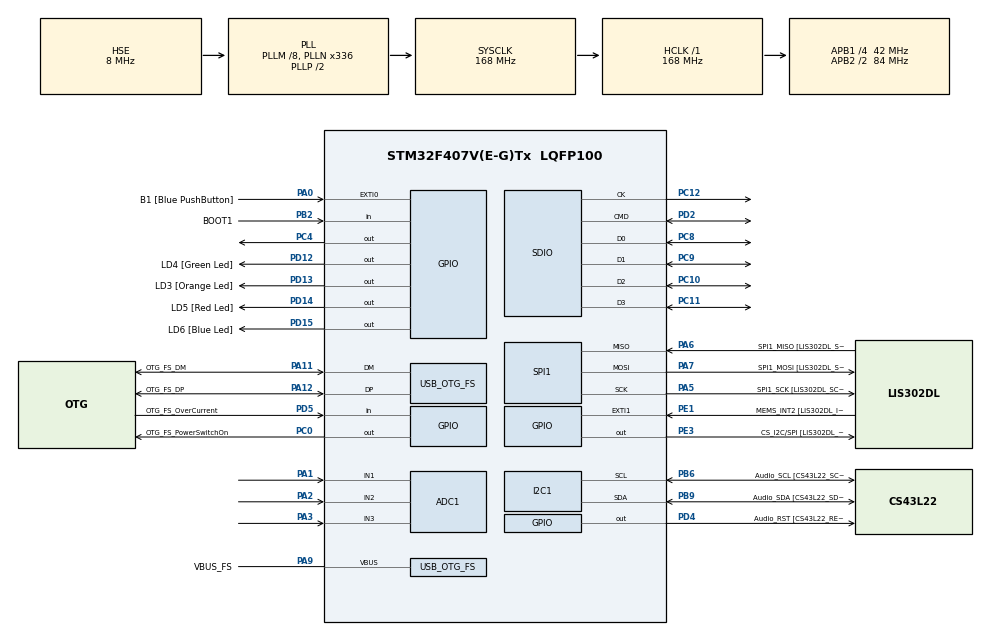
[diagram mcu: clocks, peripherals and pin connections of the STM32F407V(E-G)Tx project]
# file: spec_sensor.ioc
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ADC1.Channel=ADC_CHANNEL_2
ADC1.Channel-0\#ChannelRegularConversion=ADC_CHANNEL_1
ADC1.Channel-6\#ChannelRegularConversion=ADC_CHANNEL_2
ADC1.Channel-7\#ChannelRegularConversion=ADC_CHANNEL_3
ADC1.ClockPrescaler=ADC_CLOCKPRESCALER_PCLK_DIV8
ADC1.ContinuousConvMode=ENABLE
ADC1.DMAContinuousRequests=ENABLE
ADC1.NbrOfConversion=3
ADC1.Rank-6\#ChannelRegularConversion=2
ADC1.Rank-7\#ChannelRegularConversion=3
ADC1.SamplingTime-0\#ChannelRegularConversion=ADC_SAMPLETIME_56CYCLES
ADC1.SamplingTime-6\#ChannelRegularConversion=ADC_SAMPLETIME_56CYCLES
ADC1.SamplingTime-7\#ChannelRegularConversion=ADC_SAMPLETIME_56CYCLES
ADC1.ScanConvMode=ENABLE
ADC1.master=1
Dma.ADC1.0.Channel=DMA_CHANNEL_0
Dma.ADC1.0.Direction=DMA_PERIPH_TO_MEMORY
Dma.ADC1.0.FIFOMode=DMA_FIFOMODE_DISABLE
Dma.ADC1.0.Instance=DMA2_Stream0
Dma.ADC1.0.MemDataAlignment=DMA_MDATAALIGN_HALFWORD
Dma.ADC1.0.MemInc=DMA_MINC_ENABLE
Dma.ADC1.0.Mode=DMA_CIRCULAR
Dma.ADC1.0.PeriphDataAlignment=DMA_PDATAALIGN_HALFWORD
Dma.ADC1.0.PeriphInc=DMA_PINC_DISABLE
Dma.ADC1.0.Priority=DMA_PRIORITY_HIGH
Dma.Request0=ADC1
FREERTOS.Tasks01=defaultTask,0,128,StartDefaultTask
Mcu.Family=STM32F4
Mcu.Name=STM32F407V(E-G)Tx
Mcu.Package=LQFP100
NVIC.DMA2_Stream0_IRQn=true\:5\:0\:true
NVIC.EXTI0_IRQn=true\:5\:0\:true
NVIC.OTG_FS_IRQn=true\:5\:0\:true
NVIC.PriorityGroup=NVIC_PRIORITYGROUP_4
PA0-WKUP.GPIO_Label=B1 [Blue PushButton]
PA0-WKUP.GPIO_ModeDefaultEXTI=GPIO_MODE_IT_RISING
PA0-WKUP.GPIO_PuPd=GPIO_NOPULL
PA0-WKUP.Signal=GPXTI0
PA1.Signal=ADCx_IN1
PA10.GPIO_Label=OTG_FS_ID
PA10.GPIO_Mode=GPIO_MODE_AF_PP
PA10.GPIO_PuPd=GPIO_NOPULL
PA10.GPIO_Speed=GPIO_SPEED_LOW
PA10.Signal=USB_OTG_FS_ID
PA11.GPIO_Label=OTG_FS_DM
PA11.GPIO_Mode=GPIO_MODE_AF_PP
PA11.GPIO_PuPd=GPIO_NOPULL
PA11.GPIO_Speed=GPIO_SPEED_LOW
PA11.Mode=Device_Only
PA11.Signal=USB_OTG_FS_DM
PA12.GPIO_Label=OTG_FS_DP
PA12.GPIO_Mode=GPIO_MODE_AF_PP
PA12.GPIO_PuPd=GPIO_NOPULL
PA12.GPIO_Speed=GPIO_SPEED_LOW
PA12.Mode=Device_Only
PA12.Signal=USB_OTG_FS_DP
PA13.GPIO_Label=SWDIO
PA13.Mode=Trace-Asynchronous_SW
PA13.Signal=SYS_JTMS-SWDIO
PA14.GPIO_Label=SWCLK
PA14.Mode=Trace-Asynchronous_SW
PA14.Signal=SYS_JTCK-SWCLK
PA2.Signal=ADCx_IN2
PA3.Signal=ADCx_IN3
PA4.GPIO_Label=I2S3_WS [CS43L22_LRCK]
PA4.GPIO_Mode=GPIO_MODE_AF_PP
PA4.GPIO_PuPd=GPIO_NOPULL
PA4.GPIO_Speed=GPIO_SPEED_LOW
PA4.Signal=I2S3_WS
PA5.GPIO_Label=SPI1_SCK [LIS302DL_SCL/SPC]
PA5.GPIO_Mode=GPIO_MODE_AF_PP
PA5.GPIO_PuPd=GPIO_NOPULL
PA5.GPIO_Speed=GPIO_SPEED_LOW
PA5.Mode=Full_Duplex_Master
PA5.Signal=SPI1_SCK
PA6.GPIO_Label=SPI1_MISO [LIS302DL_SDO]
PA6.GPIO_Mode=GPIO_MODE_AF_PP
PA6.GPIO_PuPd=GPIO_NOPULL
PA6.GPIO_Speed=GPIO_SPEED_LOW
PA6.Mode=Full_Duplex_Master
PA6.Signal=SPI1_MISO
PA7.GPIO_Label=SPI1_MOSI [LIS302DL_SDA/SDI/SDO]
PA7.GPIO_Mode=GPIO_MODE_AF_PP
PA7.GPIO_PuPd=GPIO_NOPULL
PA7.GPIO_Speed=GPIO_SPEED_LOW
PA7.Mode=Full_Duplex_Master
PA7.Signal=SPI1_MOSI
PA9.GPIO_Label=VBUS_FS
PA9.GPIO_Mode=GPIO_MODE_INPUT
PA9.GPIO_PuPd=GPIO_NOPULL
PA9.Mode=Activate_VBUS
PA9.Signal=USB_OTG_FS_VBUS
PB10.GPIO_Label=CLK_IN [MP45DT02_CLK]
PB10.GPIO_Mode=GPIO_MODE_AF_PP
PB10.GPIO_PuPd=GPIO_NOPULL
PB10.GPIO_Speed=GPIO_SPEED_LOW
PB10.Signal=I2S2_CK
PB2.GPIO_Label=BOOT1
PB2.GPIO_Mode=GPIO_MODE_INPUT
PB2.GPIO_PuPd=GPIO_NOPULL
PB2.Signal=GPIO_Input
PB3.GPIO_Label=SWO
PB3.Mode=Trace-Asynchronous_SW
PB3.Signal=SYS_JTDO-SWO
PB6.GPIO_Label=Audio_SCL [CS43L22_SCL]
PB6.GPIO_Mode=GPIO_MODE_AF_OD
PB6.GPIO_PuPd=GPIO_NOPULL
PB6.GPIO_Speed=GPIO_SPEED_LOW
PB6.Mode=I2C
PB6.Signal=I2C1_SCL
PB9.GPIO_Label=Audio_SDA [CS43L22_SDA]
PB9.GPIO_Mode=GPIO_MODE_AF_OD
PB9.GPIO_PuPd=GPIO_NOPULL
PB9.GPIO_Speed=GPIO_SPEED_LOW
PB9.Mode=I2C
PB9.Signal=I2C1_SDA
PC0.GPIO_Label=OTG_FS_PowerSwitchOn
PC0.GPIO_ModeDefaultOutputPP=GPIO_MODE_OUTPUT_PP
PC0.GPIO_PuPd=GPIO_NOPULL
PC0.GPIO_Speed=GPIO_SPEED_LOW
PC0.Signal=GPIO_Output
PC10.Mode=SD_4_bits_Wide_bus
PC10.Signal=SDIO_D2
PC11.Mode=SD_4_bits_Wide_bus
PC11.Signal=SDIO_D3
PC12.Mode=SD_4_bits_Wide_bus
PC12.Signal=SDIO_CK
PC14-OSC32_IN.GPIO_Label=PC14-OSC32_IN
PC14-OSC32_IN.Mode=LSE-External-Oscillator
PC14-OSC32_IN.Signal=RCC_OSC32_IN
PC15-OSC32_OUT.GPIO_Label=PC15-OSC32_OUT
PC15-OSC32_OUT.Mode=LSE-External-Oscillator
PC15-OSC32_OUT.Signal=RCC_OSC32_OUT
PC3.GPIO_Label=PDM_OUT [MP45DT02_DOUT]
PC3.GPIO_Mode=GPIO_MODE_AF_PP
PC3.GPIO_PuPd=GPIO_NOPULL
PC3.GPIO_Speed=GPIO_SPEED_LOW
PC3.Signal=I2S2_SD
PC4.Signal=GPIO_Output
PC7.GPIO_Label=I2S3_MCK [CS43L22_MCLK]
PC7.GPIO_Mode=GPIO_MODE_AF_PP
PC7.GPIO_PuPd=GPIO_NOPULL
PC7.GPIO_Speed=GPIO_SPEED_LOW
PC7.Signal=I2S3_MCK
PC8.Mode=SD_4_bits_Wide_bus
PC8.Signal=SDIO_D0
PC9.Mode=SD_4_bits_Wide_bus
PC9.Signal=SDIO_D1
PD12.GPIO_Label=LD4 [Green Led]
PD12.GPIO_ModeDefaultOutputPP=GPIO_MODE_OUTPUT_PP
PD12.GPIO_PuPd=GPIO_NOPULL
PD12.GPIO_Speed=GPIO_SPEED_LOW
PD12.Signal=GPIO_Output
PD13.GPIO_Label=LD3 [Orange Led]
PD13.GPIO_ModeDefaultOutputPP=GPIO_MODE_OUTPUT_PP
PD13.GPIO_PuPd=GPIO_NOPULL
PD13.GPIO_Speed=GPIO_SPEED_LOW
PD13.Signal=GPIO_Output
PD14.GPIO_Label=LD5 [Red Led]
PD14.GPIO_ModeDefaultOutputPP=GPIO_MODE_OUTPUT_PP
PD14.GPIO_PuPd=GPIO_NOPULL
PD14.GPIO_Speed=GPIO_SPEED_LOW
PD14.Signal=GPIO_Output
PD15.GPIO_Label=LD6 [Blue Led]
PD15.GPIO_ModeDefaultOutputPP=GPIO_MODE_OUTPUT_PP
PD15.GPIO_PuPd=GPIO_NOPULL
PD15.GPIO_Speed=GPIO_SPEED_LOW
PD15.Signal=GPIO_Output
PD2.Mode=SD_4_bits_Wide_bus
PD2.Signal=SDIO_CMD
PD4.GPIO_Label=Audio_RST [CS43L22_RESET]
PD4.GPIO_ModeDefaultOutputPP=GPIO_MODE_OUTPUT_PP
PD4.GPIO_PuPd=GPIO_NOPULL
PD4.GPIO_Speed=GPIO_SPEED_LOW
PD4.Signal=GPIO_Output
PD5.GPIO_Label=OTG_FS_OverCurrent
PD5.GPIO_Mode=GPIO_MODE_INPUT
PD5.GPIO_PuPd=GPIO_NOPULL
PD5.Signal=GPIO_Input
PE1.GPIO_Label=MEMS_INT2 [LIS302DL_INT2]
PE1.GPIO_ModeDefaultEXTI=GPIO_MODE_EVT_RISING
PE1.GPIO_PuPd=GPIO_NOPULL
PE1.Signal=GPXTI1
PE3.GPIO_Label=CS_I2C/SPI [LIS302DL_CS_I2C/SPI]
PE3.GPIO_ModeDefaultOutputPP=GPIO_MODE_OUTPUT_PP
PE3.GPIO_PuPd=GPIO_NOPULL
PE3.GPIO_Speed=GPIO_SPEED_LOW
PE3.Signal=GPIO_Output
PH0-OSC_IN.GPIO_Label=PH0-OSC_IN
PH0-OSC_IN.Mode=HSE-External-Oscillator
PH0-OSC_IN.Signal=RCC_OSC_IN
PH1-OSC_OUT.GPIO_Label=PH1-OSC_OUT
PH1-OSC_OUT.Mode=HSE-External-Oscillator
PH1-OSC_OUT.Signal=RCC_OSC_OUT
ProjectManager.TargetToolchain=EWARM 6.70
RCC.48MHZClocksFreq_Value=48000000
RCC.AHBFreq_Value=168000000
RCC.APB1CLKDivider=RCC_HCLK_DIV4
RCC.APB1Freq_Value=42000000
RCC.APB1TimFreq_Value=84000000
RCC.APB2CLKDivider=RCC_HCLK_DIV2
RCC.APB2Freq_Value=84000000
RCC.APB2TimFreq_Value=168000000
RCC.CortexFreq_Value=21000000
RCC.HCLKFreq_Value=168000000
RCC.HSE_VALUE=8000000
RCC.HSI_VALUE=16000000
RCC.LSE_VALUE=32768
RCC.PLLM=8
RCC.PLLN=336
RCC.PLLQ=7
RCC.PLLSourceVirtual=RCC_PLLSOURCE_HSE
RCC.SYSCLKFreq_VALUE=168000000
RCC.SYSCLKSource=RCC_SYSCLKSOURCE_PLLCLK
RCC.VCOOutputFreq_Value=336000000
SDIO.BusWide-SD_4_bits_Wide_bus=SDIO_BUS_WIDE_1B
SDIO.WideMode=SDIO_BUS_WIDE_4B
SH.ADCx_IN1.0=ADC1_IN1,IN1
SH.ADCx_IN2.0=ADC1_IN2,IN2
SH.ADCx_IN3.0=ADC1_IN3,IN3
SPI1.BaudRatePrescaler-Full_Duplex_Master=SPI_BAUDRATEPRESCALER_2
SPI1.CalculateBaudRate-Full_Duplex_Master=42.0 MBits/s
SPI1.Mode-Full_Duplex_Master=SPI_MODE_MASTER
USB_DEVICE.CLASS_NAME-CDC_FS=CDC
USB_DEVICE.USBD_HandleTypeDef-CDC_FS=hUsbDeviceFS
USB_DEVICE.VirtualMode-CDC_FS=Cdc
USB_DEVICE.VirtualModeFS-CDC_FS=Cdc_FS
USB_OTG_FS.VirtualMode-Device_Only=Device_Only
USB_OTG_FS.use_external_vbus=ENABLE
VP_FREERTOS_VS_ENABLE.Mode=Enabled
VP_USB_DEVICE_VS_USB_DEVICE_CDC_FS.Mode=CDC_FS

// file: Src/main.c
/**
  ******************************************************************************
  * File Name          : main.c
  * Date               : 27/03/2015 00:34:07
  * Description        : Main program body
  ******************************************************************************
  *
  * COPYRIGHT(c) 2015 STMicroelectronics
  *
  * Redistribution and use in source and binary forms, with or without modification,
  * are permitted provided that the following conditions are met:
  *   1. Redistributions of source code must retain the above copyright notice,
  *      this list of conditions and the following disclaimer.
  *   2. Redistributions in binary form must reproduce the above copyright notice,
  *      this list of conditions and the following disclaimer in the documentation
  *      and/or other materials provided with the distribution.
  *   3. Neither the name of STMicroelectronics nor the names of its contributors
  *      may be used to endorse or promote products derived from this software
  *      without specific prior written permission.
  *
  * THIS SOFTWARE IS PROVIDED BY THE COPYRIGHT HOLDERS AND CONTRIBUTORS "AS IS"
  * AND ANY EXPRESS OR IMPLIED WARRANTIES, INCLUDING, BUT NOT LIMITED TO, THE
  * IMPLIED WARRANTIES OF MERCHANTABILITY AND FITNESS FOR A PARTICULAR PURPOSE ARE
  * DISCLAIMED. IN NO EVENT SHALL THE COPYRIGHT HOLDER OR CONTRIBUTORS BE LIABLE
  * FOR ANY DIRECT, INDIRECT, INCIDENTAL, SPECIAL, EXEMPLARY, OR CONSEQUENTIAL
  * DAMAGES (INCLUDING, BUT NOT LIMITED TO, PROCUREMENT OF SUBSTITUTE GOODS OR
  * SERVICES; LOSS OF USE, DATA, OR PROFITS; OR BUSINESS INTERRUPTION) HOWEVER
  * CAUSED AND ON ANY THEORY OF LIABILITY, WHETHER IN CONTRACT, STRICT LIABILITY,
  * OR TORT (INCLUDING NEGLIGENCE OR OTHERWISE) ARISING IN ANY WAY OUT OF THE USE
  * OF THIS SOFTWARE, EVEN IF ADVISED OF THE POSSIBILITY OF SUCH DAMAGE.
  *
  ******************************************************************************
  */

#include "stm32f4xx_hal.h"
#include "cmsis_os.h"
#include "usb_device.h"

ADC_HandleTypeDef hadc1;
DMA_HandleTypeDef hdma_adc1;

I2C_HandleTypeDef hi2c1;

SD_HandleTypeDef hsd;
HAL_SD_CardInfoTypedef SDCardInfo;

SPI_HandleTypeDef hspi1;

osThreadId defaultTaskHandle;

void SystemClock_Config(void);
static void MX_GPIO_Init(void);
static void MX_DMA_Init(void);
static void MX_ADC1_Init(void);
static void MX_I2C1_Init(void);
static void MX_SDIO_SD_Init(void);
static void MX_SPI1_Init(void);
void StartDefaultTask(void const * argument);

/* USER CODE BEGIN 0 */
#define DATA_SIZE       0x7FFF
uint16_t ADCConvValues[3];
extern volatile uint16_t DataReceived;

uint16_t value1 = 0;
uint16_t value2 = 0;
uint16_t value3 = 0;

ADC_HandleTypeDef hadc1;
DMA_HandleTypeDef hdma_adc1;

I2C_HandleTypeDef hi2c1;

//I2S_HandleTypeDef hi2s3; выяснить зачем это нужно

SPI_HandleTypeDef hspi1;

/* USER CODE END 0 */

int main(void)
{

  /* MCU Configuration----------------------------------------------------------*/

  /* Reset of all peripherals, Initializes the Flash interface and the Systick. */
  HAL_Init();

  /* Configure the system clock */
  SystemClock_Config();

  /* Initialize all configured peripherals */
  MX_GPIO_Init();
  MX_DMA_Init();
  MX_ADC1_Init();
  MX_I2C1_Init();
  MX_SDIO_SD_Init();
  MX_SPI1_Init();

  /* Create the thread(s) */
  /* definition and creation of defaultTask */
  osThreadDef(defaultTask, StartDefaultTask, osPriorityNormal, 0, 128);
  defaultTaskHandle = osThreadCreate(osThread(defaultTask), NULL);

  /* Start scheduler */
  osKernelStart();

  /* We should never get here as control is now taken by the scheduler */

  while (1)
  {
  }

}

/** System Clock Configuration
*/
void SystemClock_Config(void)
{

  RCC_OscInitTypeDef RCC_OscInitStruct;
  RCC_ClkInitTypeDef RCC_ClkInitStruct;

  __PWR_CLK_ENABLE();

  __HAL_PWR_VOLTAGESCALING_CONFIG(PWR_REGULATOR_VOLTAGE_SCALE1);

  RCC_OscInitStruct.OscillatorType = RCC_OSCILLATORTYPE_HSE;
  RCC_OscInitStruct.HSEState = RCC_HSE_ON;
  RCC_OscInitStruct.PLL.PLLState = RCC_PLL_ON;
  RCC_OscInitStruct.PLL.PLLSource = RCC_PLLSOURCE_HSE;
  RCC_OscInitStruct.PLL.PLLM = 8;
  RCC_OscInitStruct.PLL.PLLN = 336;
  RCC_OscInitStruct.PLL.PLLP = RCC_PLLP_DIV2;
  RCC_OscInitStruct.PLL.PLLQ = 7;
  HAL_RCC_OscConfig(&RCC_OscInitStruct);

  RCC_ClkInitStruct.ClockType = RCC_CLOCKTYPE_SYSCLK|RCC_CLOCKTYPE_PCLK1
                              |RCC_CLOCKTYPE_PCLK2;
  RCC_ClkInitStruct.SYSCLKSource = RCC_SYSCLKSOURCE_PLLCLK;
  RCC_ClkInitStruct.AHBCLKDivider = RCC_SYSCLK_DIV1;
  RCC_ClkInitStruct.APB1CLKDivider = RCC_HCLK_DIV4;
  RCC_ClkInitStruct.APB2CLKDivider = RCC_HCLK_DIV2;
  HAL_RCC_ClockConfig(&RCC_ClkInitStruct, FLASH_LATENCY_5);

}

/* ADC1 init function */
void MX_ADC1_Init(void)
{

  ADC_ChannelConfTypeDef sConfig;

    /**Configure the global features of the ADC (Clock, Resolution, Data Alignment and number of conversion)
    */
  hadc1.Instance = ADC1;
  hadc1.Init.ClockPrescaler = ADC_CLOCKPRESCALER_PCLK_DIV8;
  hadc1.Init.Resolution = ADC_RESOLUTION12b;
  hadc1.Init.ScanConvMode = ENABLE;
  hadc1.Init.ContinuousConvMode = ENABLE;
  hadc1.Init.DiscontinuousConvMode = DISABLE;
  hadc1.Init.ExternalTrigConvEdge = ADC_EXTERNALTRIGCONVEDGE_NONE;
  hadc1.Init.DataAlign = ADC_DATAALIGN_RIGHT;
  hadc1.Init.NbrOfConversion = 3;
  hadc1.Init.DMAContinuousRequests = ENABLE;
  hadc1.Init.EOCSelection = EOC_SINGLE_CONV;
  HAL_ADC_Init(&hadc1);

    /**Configure for the selected ADC regular channel its corresponding rank in the sequencer and its sample time.
    */
  sConfig.Channel = ADC_CHANNEL_2;
  sConfig.Rank = 2;
  sConfig.SamplingTime = ADC_SAMPLETIME_56CYCLES;
  HAL_ADC_ConfigChannel(&hadc1, &sConfig);

    /**Configure for the selected ADC regular channel its corresponding rank in the sequencer and its sample time.
    */
  sConfig.Channel = ADC_CHANNEL_1;
  sConfig.Rank = 1;
  HAL_ADC_ConfigChannel(&hadc1, &sConfig);

    /**Configure for the selected ADC regular channel its corresponding rank in the sequencer and its sample time.
    */
  sConfig.Channel = ADC_CHANNEL_3;
  sConfig.Rank = 3;
  HAL_ADC_ConfigChannel(&hadc1, &sConfig);

}

/* I2C1 init function */
void MX_I2C1_Init(void)
{

  hi2c1.Instance = I2C1;
  hi2c1.Init.ClockSpeed = 100000;
  hi2c1.Init.DutyCycle = I2C_DUTYCYCLE_2;
  hi2c1.Init.OwnAddress1 = 0;
  hi2c1.Init.AddressingMode = I2C_ADDRESSINGMODE_7BIT;
  hi2c1.Init.DualAddressMode = I2C_DUALADDRESS_DISABLED;
  hi2c1.Init.OwnAddress2 = 0;
  hi2c1.Init.GeneralCallMode = I2C_GENERALCALL_DISABLED;
  hi2c1.Init.NoStretchMode = I2C_NOSTRETCH_DISABLED;
  HAL_I2C_Init(&hi2c1);

}

/* SDIO init function */
void MX_SDIO_SD_Init(void)
{

  hsd.Instance = SDIO;
  hsd.Init.ClockEdge = SDIO_CLOCK_EDGE_RISING;
  hsd.Init.ClockBypass = SDIO_CLOCK_BYPASS_DISABLE;
  hsd.Init.ClockPowerSave = SDIO_CLOCK_POWER_SAVE_DISABLE;
  hsd.Init.BusWide = SDIO_BUS_WIDE_1B;
  hsd.Init.HardwareFlowControl = SDIO_HARDWARE_FLOW_CONTROL_DISABLE;
  hsd.Init.ClockDiv = 0;
  HAL_SD_Init(&hsd, &SDCardInfo);

  HAL_SD_WideBusOperation_Config(&hsd, SDIO_BUS_WIDE_4B);

}

/* SPI1 init function */
void MX_SPI1_Init(void)
{

  hspi1.Instance = SPI1;
  hspi1.Init.Mode = SPI_MODE_MASTER;
  hspi1.Init.Direction = SPI_DIRECTION_2LINES;
  hspi1.Init.DataSize = SPI_DATASIZE_8BIT;
  hspi1.Init.CLKPolarity = SPI_POLARITY_LOW;
  hspi1.Init.CLKPhase = SPI_PHASE_1EDGE;
  hspi1.Init.NSS = SPI_NSS_SOFT;
  hspi1.Init.BaudRatePrescaler = SPI_BAUDRATEPRESCALER_2;
  hspi1.Init.FirstBit = SPI_FIRSTBIT_MSB;
  hspi1.Init.TIMode = SPI_TIMODE_DISABLED;
  hspi1.Init.CRCCalculation = SPI_CRCCALCULATION_DISABLED;
  HAL_SPI_Init(&hspi1);

}

void MX_DMA_Init(void)
{
  /* DMA controller clock enable */
  __DMA2_CLK_ENABLE();

  /* DMA interrupt init */
  HAL_NVIC_SetPriority(DMA2_Stream0_IRQn, 5, 0);
  HAL_NVIC_EnableIRQ(DMA2_Stream0_IRQn);

}

/** Configure pins as
        * Analog
        * Input
        * Output
        * EVENT_OUT
        * EXTI
     PC3   ------> I2S2_SD
     PA4   ------> I2S3_WS
     PB10   ------> I2S2_CK
     PC7   ------> I2S3_MCK
*/
void MX_GPIO_Init(void)
{

  GPIO_InitTypeDef GPIO_InitStruct;

  /* GPIO Ports Clock Enable */
  __GPIOE_CLK_ENABLE();
  __GPIOC_CLK_ENABLE();
  __GPIOH_CLK_ENABLE();
  __GPIOA_CLK_ENABLE();
  __GPIOB_CLK_ENABLE();
  __GPIOD_CLK_ENABLE();

  /*Configure GPIO pin : PE3 */
  GPIO_InitStruct.Pin = GPIO_PIN_3;
  GPIO_InitStruct.Mode = GPIO_MODE_OUTPUT_PP;
  GPIO_InitStruct.Pull = GPIO_NOPULL;
  GPIO_InitStruct.Speed = GPIO_SPEED_LOW;
  HAL_GPIO_Init(GPIOE, &GPIO_InitStruct);

  /*Configure GPIO pins : PC0 PC4 */
  GPIO_InitStruct.Pin = GPIO_PIN_0|GPIO_PIN_4;
  GPIO_InitStruct.Mode = GPIO_MODE_OUTPUT_PP;
  GPIO_InitStruct.Pull = GPIO_NOPULL;
  GPIO_InitStruct.Speed = GPIO_SPEED_LOW;
  HAL_GPIO_Init(GPIOC, &GPIO_InitStruct);

  /*Configure GPIO pin : PC3 */
  GPIO_InitStruct.Pin = GPIO_PIN_3;
  GPIO_InitStruct.Mode = GPIO_MODE_AF_PP;
  GPIO_InitStruct.Pull = GPIO_NOPULL;
  GPIO_InitStruct.Speed = GPIO_SPEED_LOW;
  GPIO_InitStruct.Alternate = GPIO_AF5_SPI2;
  HAL_GPIO_Init(GPIOC, &GPIO_InitStruct);

  /*Configure GPIO pin : PA0 */
  GPIO_InitStruct.Pin = GPIO_PIN_0;
  GPIO_InitStruct.Mode = GPIO_MODE_IT_RISING;
  GPIO_InitStruct.Pull = GPIO_NOPULL;
  HAL_GPIO_Init(GPIOA, &GPIO_InitStruct);

  /*Configure GPIO pin : PA4 */
  GPIO_InitStruct.Pin = GPIO_PIN_4;
  GPIO_InitStruct.Mode = GPIO_MODE_AF_PP;
  GPIO_InitStruct.Pull = GPIO_NOPULL;
  GPIO_InitStruct.Speed = GPIO_SPEED_LOW;
  GPIO_InitStruct.Alternate = GPIO_AF6_SPI3;
  HAL_GPIO_Init(GPIOA, &GPIO_InitStruct);

  /*Configure GPIO pin : PB2 */
  GPIO_InitStruct.Pin = GPIO_PIN_2;
  GPIO_InitStruct.Mode = GPIO_MODE_INPUT;
  GPIO_InitStruct.Pull = GPIO_NOPULL;
  HAL_GPIO_Init(GPIOB, &GPIO_InitStruct);

  /*Configure GPIO pin : PB10 */
  GPIO_InitStruct.Pin = GPIO_PIN_10;
  GPIO_InitStruct.Mode = GPIO_MODE_AF_PP;
  GPIO_InitStruct.Pull = GPIO_NOPULL;
  GPIO_InitStruct.Speed = GPIO_SPEED_LOW;
  GPIO_InitStruct.Alternate = GPIO_AF5_SPI2;
  HAL_GPIO_Init(GPIOB, &GPIO_InitStruct);

  /*Configure GPIO pins : PD12 PD13 PD14 PD15
                           PD4 */
  GPIO_InitStruct.Pin = GPIO_PIN_12|GPIO_PIN_13|GPIO_PIN_14|GPIO_PIN_15
                          |GPIO_PIN_4;
  GPIO_InitStruct.Mode = GPIO_MODE_OUTPUT_PP;
  GPIO_InitStruct.Pull = GPIO_NOPULL;
  GPIO_InitStruct.Speed = GPIO_SPEED_LOW;
  HAL_GPIO_Init(GPIOD, &GPIO_InitStruct);

  /*Configure GPIO pin : PC7 */
  GPIO_InitStruct.Pin = GPIO_PIN_7;
  GPIO_InitStruct.Mode = GPIO_MODE_AF_PP;
  GPIO_InitStruct.Pull = GPIO_NOPULL;
  GPIO_InitStruct.Speed = GPIO_SPEED_LOW;
  GPIO_InitStruct.Alternate = GPIO_AF6_SPI3;
  HAL_GPIO_Init(GPIOC, &GPIO_InitStruct);

  /*Configure GPIO pin : PD5 */
  GPIO_InitStruct.Pin = GPIO_PIN_5;
  GPIO_InitStruct.Mode = GPIO_MODE_INPUT;
  GPIO_InitStruct.Pull = GPIO_NOPULL;
  HAL_GPIO_Init(GPIOD, &GPIO_InitStruct);

  /*Configure GPIO pin : PE1 */
  GPIO_InitStruct.Pin = GPIO_PIN_1;
  GPIO_InitStruct.Mode = GPIO_MODE_EVT_RISING;
  GPIO_InitStruct.Pull = GPIO_NOPULL;
  HAL_GPIO_Init(GPIOE, &GPIO_InitStruct);

  /* EXTI interrupt init*/
  HAL_NVIC_SetPriority(EXTI0_IRQn, 5, 0);
  HAL_NVIC_EnableIRQ(EXTI0_IRQn);

}

/* USER CODE BEGIN 4 */

void HAL_ADC_ConvCpltCallback(ADC_HandleTypeDef* hadc)
{
  /* NOTE : This function Should not be modified, when the callback is needed,
            the HAL_ADC_ConvCpltCallback could be implemented in the user file
   */
    // HAL_ADC_Stop_DMA(&hadc1);
  HAL_GPIO_WritePin(GPIOC, GPIO_PIN_4, GPIO_PIN_SET);
  value1 = ADCConvValues[0];
  value2 = ADCConvValues[1];
  value3 = ADCConvValues[2];
  HAL_GPIO_WritePin(GPIOC, GPIO_PIN_4, GPIO_PIN_RESET);  value1 = ADCConvValues[0];

  CDC_Transmit_FS(ADCConvValues,3 * sizeof(uint16_t));
}
char string[12] = "Flyability\r\n";

volatile short startConversion = 0;

void HAL_GPIO_EXTI_Callback(uint16_t GPIO_Pin)
{
  startConversion = 1;
}

/* USER CODE END 4 */

void StartDefaultTask(void const * argument)
{
  /* init code for USB_DEVICE */
  MX_USB_DEVICE_Init();

  /* USER CODE BEGIN 5 */
  //HAL_DMA_Start_IT(&hdma_adc1,(uint32_t)&ADC1->DR,(uint32_t)ADCConvValues, DATA_SIZE);

  /* Infinite loop */
  for(;;)
  {
    // DataReceived = 100;
      if (startConversion)
      {
          osDelay(1000);
          if(HAL_ADC_Start_DMA(&hadc1, (uint32_t*)ADCConvValues, 3) == HAL_OK) {
          }

          //for (unsigned short i = 0; i < (DataReceived * 2) / 32; i++)
          //{
          //    while (CDC_Transmit_FS(((unsigned char *)ADCConvValues + i*32),32) == USBD_BUSY)
          //    {
          //        __no_operation();
          //    };
          //}
          //DataReceived = 0;
          startConversion = 0;
      }
      //CDC_Transmit_FS(c,4);
  }
  /* USER CODE END 5 */

}

/************************ (C) COPYRIGHT STMicroelectronics *****END OF FILE****/
